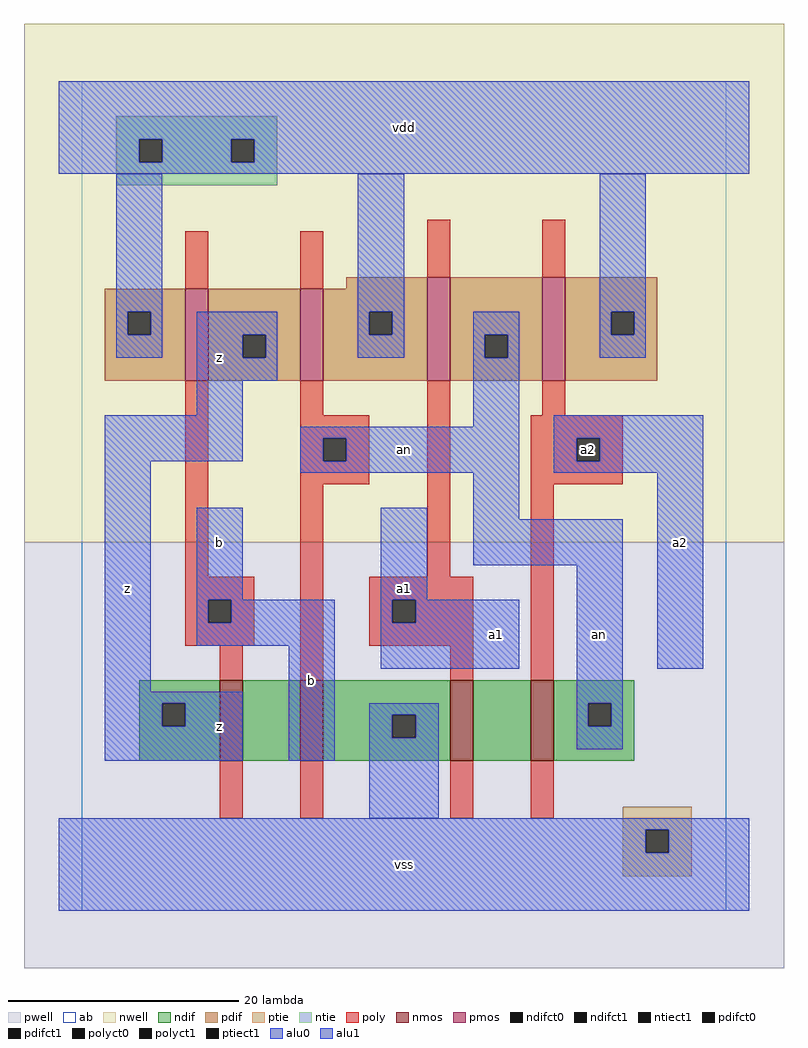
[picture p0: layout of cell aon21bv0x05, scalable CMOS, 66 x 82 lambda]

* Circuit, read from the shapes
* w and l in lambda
.subckt aon21bv0x05 a1 a2 an b vdd vss z
M1 n1 b z vss nfet w=7 l=2
M2 vss an n1 vss nfet w=7 l=2
M3 n2 a1 vss vss nfet w=7 l=2
M4 an a2 n2 vss nfet w=7 l=2
M5 z b vdd vdd pfet w=8 l=2
M6 vdd an z vdd pfet w=8 l=2
M7 an a1 vdd vdd pfet w=9 l=2
M8 vdd a2 an vdd pfet w=9 l=2
.ends

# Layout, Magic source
magic
tech scmos
<< ab >>
rect 0 0 56 72
<< nwell >>
rect -5 32 61 77
<< pwell >>
rect -5 -5 61 32
<< poly >>
rect 9 54 11 59
rect 19 54 21 59
rect 30 55 32 60
rect 40 55 42 60
rect 9 29 11 46
rect 19 43 21 46
rect 19 41 25 43
rect 19 39 21 41
rect 23 39 25 41
rect 19 37 25 39
rect 9 27 15 29
rect 9 25 11 27
rect 13 25 15 27
rect 9 23 15 25
rect 12 20 14 23
rect 19 20 21 37
rect 30 29 32 46
rect 40 43 42 46
rect 39 41 47 43
rect 39 39 43 41
rect 45 39 47 41
rect 39 37 47 39
rect 25 27 34 29
rect 25 25 27 27
rect 29 25 34 27
rect 25 23 34 25
rect 32 20 34 23
rect 39 20 41 37
rect 12 8 14 13
rect 19 8 21 13
rect 32 8 34 13
rect 39 8 41 13
<< ndif >>
rect 5 18 12 20
rect 5 16 7 18
rect 9 16 12 18
rect 5 13 12 16
rect 14 13 19 20
rect 21 17 32 20
rect 21 15 27 17
rect 29 15 32 17
rect 21 13 32 15
rect 34 13 39 20
rect 41 18 48 20
rect 41 16 44 18
rect 46 16 48 18
rect 41 13 48 16
<< pdif >>
rect 23 54 30 55
rect 2 52 9 54
rect 2 50 4 52
rect 6 50 9 52
rect 2 46 9 50
rect 11 50 19 54
rect 11 48 14 50
rect 16 48 19 50
rect 11 46 19 48
rect 21 52 30 54
rect 21 50 25 52
rect 27 50 30 52
rect 21 46 30 50
rect 32 50 40 55
rect 32 48 35 50
rect 37 48 40 50
rect 32 46 40 48
rect 42 52 50 55
rect 42 50 46 52
rect 48 50 50 52
rect 42 46 50 50
<< alu1 >>
rect -2 67 58 72
rect -2 65 5 67
rect 7 65 13 67
rect 15 65 58 67
rect -2 64 58 65
rect 10 50 17 52
rect 10 48 14 50
rect 16 48 17 50
rect 10 46 17 48
rect 10 43 14 46
rect 2 39 14 43
rect 2 19 6 39
rect 41 41 54 43
rect 41 39 43 41
rect 45 39 54 41
rect 41 38 54 39
rect 10 27 14 35
rect 26 27 30 35
rect 10 25 11 27
rect 13 25 22 27
rect 10 23 22 25
rect 2 18 14 19
rect 2 16 7 18
rect 9 16 14 18
rect 2 13 14 16
rect 18 13 22 23
rect 26 25 27 27
rect 29 25 38 27
rect 26 21 38 25
rect 50 21 54 38
rect -2 7 58 8
rect -2 5 49 7
rect 51 5 58 7
rect -2 0 58 5
<< ptie >>
rect 47 7 53 9
rect 47 5 49 7
rect 51 5 53 7
rect 47 3 53 5
<< ntie >>
rect 3 67 17 69
rect 3 65 5 67
rect 7 65 13 67
rect 15 65 17 67
rect 3 63 17 65
<< nmos >>
rect 12 13 14 20
rect 19 13 21 20
rect 32 13 34 20
rect 39 13 41 20
<< pmos >>
rect 9 46 11 54
rect 19 46 21 54
rect 30 46 32 55
rect 40 46 42 55
<< polyct0 >>
rect 21 39 23 41
<< polyct1 >>
rect 11 25 13 27
rect 43 39 45 41
rect 27 25 29 27
<< ndifct0 >>
rect 27 15 29 17
rect 44 16 46 18
<< ndifct1 >>
rect 7 16 9 18
<< ntiect1 >>
rect 5 65 7 67
rect 13 65 15 67
<< ptiect1 >>
rect 49 5 51 7
<< pdifct0 >>
rect 4 50 6 52
rect 25 50 27 52
rect 35 48 37 50
rect 46 50 48 52
<< pdifct1 >>
rect 14 48 16 50
<< alu0 >>
rect 3 52 7 64
rect 24 52 28 64
rect 45 52 49 64
rect 3 50 4 52
rect 6 50 7 52
rect 3 48 7 50
rect 24 50 25 52
rect 27 50 28 52
rect 24 48 28 50
rect 34 50 38 52
rect 34 48 35 50
rect 37 48 38 50
rect 45 50 46 52
rect 48 50 49 52
rect 45 48 49 50
rect 34 42 38 48
rect 19 41 38 42
rect 19 39 21 41
rect 23 39 38 41
rect 19 38 38 39
rect 34 34 38 38
rect 34 30 47 34
rect 43 18 47 30
rect 25 17 31 18
rect 25 15 27 17
rect 29 15 31 17
rect 25 8 31 15
rect 43 16 44 18
rect 46 16 47 18
rect 43 14 47 16
<< labels >>
rlabel alu0 45 24 45 24 6 an
rlabel alu0 28 40 28 40 6 an
rlabel alu1 4 28 4 28 6 z
rlabel alu1 20 20 20 20 6 b
rlabel alu1 12 16 12 16 6 z
rlabel alu1 12 32 12 32 6 b
rlabel alu1 12 48 12 48 6 z
rlabel alu1 28 4 28 4 6 vss
rlabel alu1 28 28 28 28 6 a1
rlabel alu1 36 24 36 24 6 a1
rlabel alu1 28 68 28 68 6 vdd
rlabel alu1 52 32 52 32 6 a2
rlabel polyct1 44 40 44 40 6 a2
<< end >>
